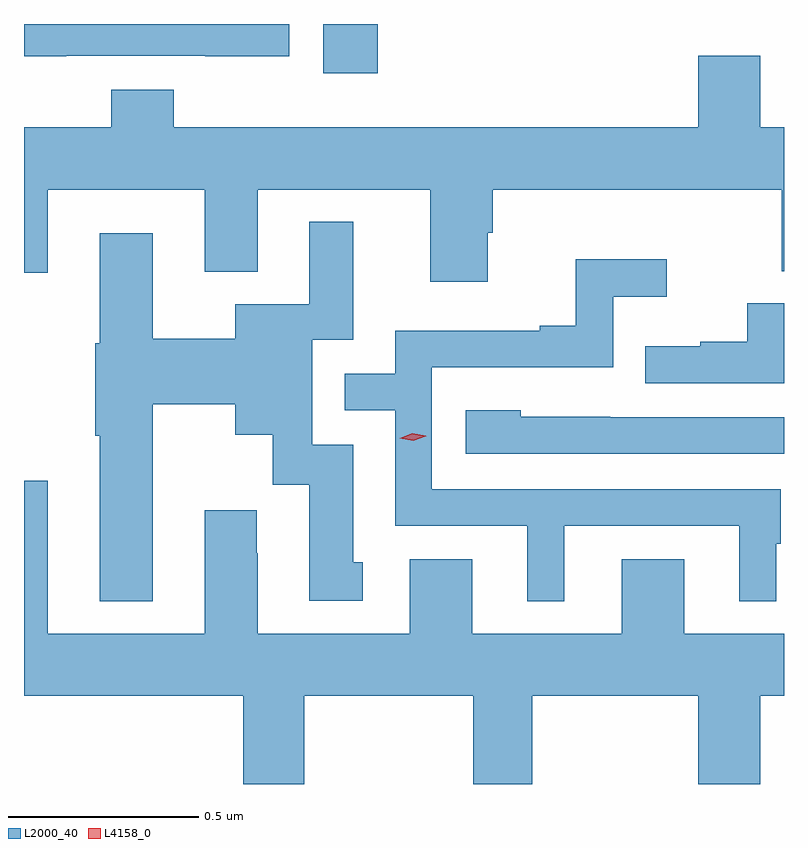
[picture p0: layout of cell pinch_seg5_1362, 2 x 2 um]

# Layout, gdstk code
import gdstk
lib = gdstk.Library(unit=1e-6, precision=1e-09)
def R(c, l, rs):  # rectangles x0, y0, x1, y1
    for r in rs: c.add(gdstk.rectangle(r[:2], r[2:], *l))
def P(c, l, *ps):  # polygons
    for p in ps: c.add(gdstk.Polygon(p, *l))
L2000_40 = (2000, 40)
L4158_0 = (4158, 0)

pinch_seg5_1362 = lib.new_cell('pinch_seg5_1362')
R(pinch_seg5_1362, L2000_40, [(343.841,886.371,343.985,886.5)])
P(pinch_seg5_1362, L2000_40, [(343.165,886.416),(343.531,886.416),(343.531,886.415),(343.752,886.415),(343.752,886.5),(343.054,886.5),(343.054,886.415),(343.165,886.415)],
  [(344.275,885.951),(344.288,885.951),(344.288,886.064),(345.048,886.064),(345.048,885.85),(345.054,885.85),(345.054,886.228),(344.992,886.228),(344.992,886.417),(344.828,886.417),(344.828,886.228),(343.448,886.228),(343.448,886.327),(343.283,886.327),(343.283,886.228),(343.054,886.228),(343.054,885.846),(343.117,885.846),(343.117,886.064),(343.529,886.064),(343.529,885.848),(343.669,885.848),(343.669,886.064),(344.123,886.064),(344.123,885.822),(344.275,885.822)],
  [(343.393,885.5),(343.61,885.5),(343.61,885.419),(343.709,885.419),(343.709,885.288),(343.805,885.288),(343.805,884.982),(343.945,884.982),(343.945,885.084),(343.921,885.084),(343.921,885.393),(343.812,885.393),(343.812,885.669),(343.921,885.669),(343.921,885.979),(343.805,885.979),(343.805,885.763),(343.61,885.763),(343.61,885.672),(343.393,885.672),(343.393,885.949),(343.253,885.949),(343.253,885.66),(343.241,885.66),(343.241,885.416),(343.253,885.416),(343.253,884.981),(343.393,884.981)],
  [(344.476,885.18),(344.936,885.18),(344.936,884.981),(345.034,884.981),(345.034,885.132),(345.046,885.132),(345.046,885.276),(344.127,885.276),(344.127,885.597),(344.604,885.597),(344.604,885.782),(344.746,885.782),(344.746,885.881),(344.506,885.881),(344.506,885.706),(344.411,885.706),(344.411,885.693),(344.031,885.693),(344.031,885.579),(343.898,885.579),(343.898,885.483),(344.031,885.483),(344.031,885.18),(344.378,885.18),(344.378,884.981),(344.476,884.981)],
  [(345.054,885.765),(344.957,885.765),(344.957,885.664),(344.833,885.664),(344.833,885.652),(344.689,885.652),(344.689,885.555),(345.054,885.555)],
  [(345.054,885.465),(344.597,885.465),(344.597,885.466),(344.361,885.466),(344.361,885.484),(344.217,885.484),(344.217,885.369),(345.054,885.369)],
  [(343.791,884.732),(344.236,884.732),(344.236,884.5),(344.391,884.5),(344.391,884.732),(344.828,884.732),(344.828,884.5),(344.992,884.5),(344.992,884.732),(345.054,884.732),(345.054,884.896),(344.791,884.896),(344.791,885.091),(344.627,885.091),(344.627,884.896),(344.233,884.896),(344.233,885.091),(344.069,885.091),(344.069,884.896),(343.669,884.896),(343.669,885.107),(343.666,885.107),(343.666,885.22),(343.529,885.22),(343.529,884.896),(343.117,884.896),(343.117,885.298),(343.054,885.298),(343.054,884.732),(343.631,884.732),(343.631,884.5),(343.791,884.5)])
P(pinch_seg5_1362, L4158_0, [(344.078,885.403),(344.043,885.41),(344.042,885.41),(344.043,885.41),(344.076,885.423),(344.111,885.416),(344.112,885.415),(344.111,885.415)])

lib.write_gds('pinch_seg5_1362.gds')
